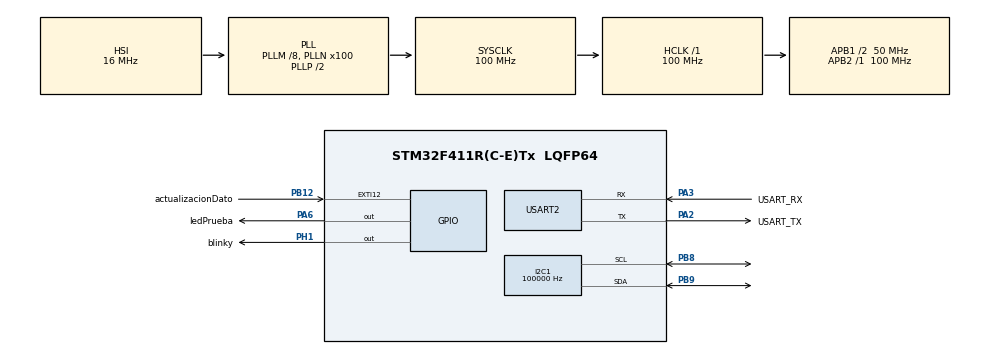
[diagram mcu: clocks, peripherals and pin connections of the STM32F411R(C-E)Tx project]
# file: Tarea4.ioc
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Dma.I2C1_RX.0.Direction=DMA_PERIPH_TO_MEMORY
Dma.I2C1_RX.0.FIFOMode=DMA_FIFOMODE_DISABLE
Dma.I2C1_RX.0.Instance=DMA1_Stream0
Dma.I2C1_RX.0.MemDataAlignment=DMA_MDATAALIGN_BYTE
Dma.I2C1_RX.0.MemInc=DMA_MINC_ENABLE
Dma.I2C1_RX.0.Mode=DMA_NORMAL
Dma.I2C1_RX.0.PeriphDataAlignment=DMA_PDATAALIGN_BYTE
Dma.I2C1_RX.0.PeriphInc=DMA_PINC_DISABLE
Dma.I2C1_RX.0.Priority=DMA_PRIORITY_LOW
Dma.I2C1_TX.1.Direction=DMA_MEMORY_TO_PERIPH
Dma.I2C1_TX.1.FIFOMode=DMA_FIFOMODE_DISABLE
Dma.I2C1_TX.1.Instance=DMA1_Stream1
Dma.I2C1_TX.1.MemDataAlignment=DMA_MDATAALIGN_BYTE
Dma.I2C1_TX.1.MemInc=DMA_MINC_ENABLE
Dma.I2C1_TX.1.Mode=DMA_NORMAL
Dma.I2C1_TX.1.PeriphDataAlignment=DMA_PDATAALIGN_BYTE
Dma.I2C1_TX.1.PeriphInc=DMA_PINC_DISABLE
Dma.I2C1_TX.1.Priority=DMA_PRIORITY_LOW
Dma.Request0=I2C1_RX
Dma.Request1=I2C1_TX
I2C1.ClockSpeed=100000
I2C1.I2C_Mode=I2C_Standard
Mcu.Family=STM32F4
Mcu.Name=STM32F411R(C-E)Tx
Mcu.Package=LQFP64
NVIC.DMA1_Stream0_IRQn=true\:0\:0\:false\:false\:true\:false\:true\:true
NVIC.DMA1_Stream1_IRQn=true\:0\:0\:false\:false\:true\:false\:true\:true
NVIC.EXTI15_10_IRQn=true\:0\:0\:false\:false\:true\:true\:true\:true
NVIC.PriorityGroup=NVIC_PRIORITYGROUP_0
NVIC.TIM2_IRQn=true\:0\:0\:false\:false\:true\:true\:true\:true
NVIC.USART2_IRQn=true\:0\:0\:false\:false\:true\:true\:true\:true
PA13.GPIO_Label=TMS
PA13.Mode=Serial_Wire
PA13.Signal=SYS_JTMS-SWDIO
PA14.GPIO_Label=TCK
PA14.Mode=Serial_Wire
PA14.Signal=SYS_JTCK-SWCLK
PA2.GPIO_Label=USART_TX
PA2.Mode=Asynchronous
PA2.Signal=USART2_TX
PA3.GPIO_Label=USART_RX
PA3.Mode=Asynchronous
PA3.Signal=USART2_RX
PA6.GPIO_Label=ledPrueba
PA6.Signal=GPIO_Output
PB12.GPIO_Label=actualizacionDato
PB12.Signal=GPXTI12
PB3.GPIO_Label=SWO
PB3.Signal=SYS_JTDO-SWO
PB8.Mode=I2C
PB8.Signal=I2C1_SCL
PB9.Mode=I2C
PB9.Signal=I2C1_SDA
PH1\ -\ OSC_OUT.GPIO_Label=blinky
PH1\ -\ OSC_OUT.Signal=GPIO_Output
ProjectManager.HeapSize=0x200
ProjectManager.StackSize=0x400
ProjectManager.TargetToolchain=STM32CubeIDE
RCC.48MHZClocksFreq_Value=50000000
RCC.AHBFreq_Value=100000000
RCC.APB1CLKDivider=RCC_HCLK_DIV2
RCC.APB1Freq_Value=50000000
RCC.APB1TimFreq_Value=100000000
RCC.APB2Freq_Value=100000000
RCC.APB2TimFreq_Value=100000000
RCC.CortexFreq_Value=100000000
RCC.FLatency-AdvancedSettings=FLASH_LATENCY_3
RCC.HCLKFreq_Value=100000000
RCC.HSE_VALUE=8000000
RCC.HSI_VALUE=16000000
RCC.LSE_VALUE=32768
RCC.PLLM=8
RCC.PLLN=100
RCC.SYSCLKFreq_VALUE=100000000
RCC.SYSCLKSource=RCC_SYSCLKSOURCE_PLLCLK
RCC.VCOOutputFreq_Value=200000000
TIM2.Period=100-1
TIM2.Prescaler=16000-1
USART2.VirtualMode=VM_ASYNC
VP_TIM2_VS_ClockSourceINT.Mode=Internal
board=NUCLEO-F411RE

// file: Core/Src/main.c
/* USER CODE BEGIN Header */
/**
  ******************************************************************************
  * @file           : main.c
  * @brief          : Main program body
  ******************************************************************************
  * @attention
  *
  * Copyright (c) 2025 STMicroelectronics.
  * All rights reserved.
  *
  * This software is licensed under terms that can be found in the LICENSE file
  * in the root directory of this software component.
  * If no LICENSE file comes with this software, it is provided AS-IS.
  *
  ******************************************************************************
  */
/* USER CODE END Header */
#include "main.h"

/* USER CODE BEGIN PTD */
// Dirección I2C con bit R/W en 0
#define MPU6050_ADDR (0x68 << 1)
// Primer registro de datos del acelerómetro
#define MPU6050_REG_ACCEL 0x3B
// Valor para suavizar el filtro de forma exponencial
#define ALPHA 0.1f
//Definimos el tamaño de la FFT
#define FFT_SIZE 256
 //Frecuencia de muestreo
#define SAMPLE_FREQ 1000.0f
/* USER CODE END PTD */

I2C_HandleTypeDef hi2c1;
DMA_HandleTypeDef hdma_i2c1_rx;
DMA_HandleTypeDef hdma_i2c1_tx;

TIM_HandleTypeDef htim2;

UART_HandleTypeDef huart2;

/* USER CODE BEGIN PV */
//Inicializamos la variable a la cual vamos a gurdarle el estado que
//tiene la maquina
estadoActual fsm ={0};

SD_MPU6050 mpu6050;
SD_MPU6050_Result result;
volatile bool newDataAvailable = false;

//Variables para las aceleraciones en cada eje
float aceleracionx =0;
float aceleraciony =0;
float aceleracionz =0;

//Variables para dar las aceleraciones filtradas
float accX_filt = 0;
float accY_filt = 0;
float accZ_filt = 0;

//Variables para expresar las aceleracion en terminos de
float g_x =0;
float g_y =0;
float g_z =0;

//Buffer para guardar en string los valores de las aceleraciones
char buffer[32];

char buf[32];
//Contador de lecturas para el acelerometro
static uint16_t contadorLecturas = 0;

//Variables para la fft
// Muestras en Z
float32_t accZ_buffer[FFT_SIZE];
uint16_t accZ_index = 0;
uint8_t bufferFull = 0;

float32_t fft_input[2 * FFT_SIZE];    // Interleaved real/imag para la FFT
float32_t fft_output[FFT_SIZE];       // Magnitudes
//Variable global para la frecuencia dominante
float freqDominante =0;

/* USER CODE END PV */

void SystemClock_Config(void);
static void MX_GPIO_Init(void);
static void MX_DMA_Init(void);
static void MX_USART2_UART_Init(void);
static void MX_TIM2_Init(void);
static void MX_I2C1_Init(void);
/* USER CODE BEGIN PFP */

//Función para asignar cada uno de los posibles estados de la maquina
void maquinaEstados (void);
//Funcion para calcular la frecuencia dominante
void calcularFrecuenciaDominante(void);
//Funcion para mostrar los cuadros principales
void cuadrosPrincipales (void);
/* USER CODE END PFP */

int main(void)
{

  /* MCU Configuration--------------------------------------------------------*/

  /* Reset of all peripherals, Initializes the Flash interface and the Systick. */
  HAL_Init();

  /* Configure the system clock */
  SystemClock_Config();

  /* Initialize all configured peripherals */
  MX_GPIO_Init();
  MX_DMA_Init();
  MX_USART2_UART_Init();
  MX_TIM2_Init();
  MX_I2C1_Init();
  /* USER CODE BEGIN 2 */
  //Inicializamos el timer 2 para el blinky
  HAL_TIM_Base_Start_IT(&htim2);
  result = SD_MPU6050_Init(&hi2c1, &mpu6050, SD_MPU6050_Device_0,
                           SD_MPU6050_Accelerometer_2G,
                           SD_MPU6050_Gyroscope_250s);

  if (result == SD_MPU6050_Result_Ok) {
      SD_MPU6050_EnableInterrupts(&hi2c1, &mpu6050);
  } else {
	  Error_Handler();
  }

  //Inicializamos la pantalla
  ssd1306_Init();
  //Probamos en la pantalla
  //ssd1306_TestAll();

  //Inicializamos las etiquetas de la pantalla
  cuadrosPrincipales();

  //Inicializamos el estado de la maquina de estados
  fsm.estado = guardarDato;

  /* USER CODE END 2 */

  /* Infinite loop */
  /* USER CODE BEGIN WHILE */
  while (1)
  {
	  maquinaEstados();
    /* USER CODE END WHILE */

  }
}

void SystemClock_Config(void)
{
  RCC_OscInitTypeDef RCC_OscInitStruct = {0};
  RCC_ClkInitTypeDef RCC_ClkInitStruct = {0};

  /** Configure the main internal regulator output voltage
  */
  __HAL_RCC_PWR_CLK_ENABLE();
  __HAL_PWR_VOLTAGESCALING_CONFIG(PWR_REGULATOR_VOLTAGE_SCALE1);

  /** Initializes the RCC Oscillators according to the specified parameters
  * in the RCC_OscInitTypeDef structure.
  */
  RCC_OscInitStruct.OscillatorType = RCC_OSCILLATORTYPE_HSI;
  RCC_OscInitStruct.HSIState = RCC_HSI_ON;
  RCC_OscInitStruct.HSICalibrationValue = RCC_HSICALIBRATION_DEFAULT;
  RCC_OscInitStruct.PLL.PLLState = RCC_PLL_ON;
  RCC_OscInitStruct.PLL.PLLSource = RCC_PLLSOURCE_HSI;
  RCC_OscInitStruct.PLL.PLLM = 8;
  RCC_OscInitStruct.PLL.PLLN = 100;
  RCC_OscInitStruct.PLL.PLLP = RCC_PLLP_DIV2;
  RCC_OscInitStruct.PLL.PLLQ = 4;
  if (HAL_RCC_OscConfig(&RCC_OscInitStruct) != HAL_OK)
  {
    Error_Handler();
  }

  /** Initializes the CPU, AHB and APB buses clocks
  */
  RCC_ClkInitStruct.ClockType = RCC_CLOCKTYPE_HCLK|RCC_CLOCKTYPE_SYSCLK
                              |RCC_CLOCKTYPE_PCLK1|RCC_CLOCKTYPE_PCLK2;
  RCC_ClkInitStruct.SYSCLKSource = RCC_SYSCLKSOURCE_PLLCLK;
  RCC_ClkInitStruct.AHBCLKDivider = RCC_SYSCLK_DIV1;
  RCC_ClkInitStruct.APB1CLKDivider = RCC_HCLK_DIV2;
  RCC_ClkInitStruct.APB2CLKDivider = RCC_HCLK_DIV1;

  if (HAL_RCC_ClockConfig(&RCC_ClkInitStruct, FLASH_LATENCY_3) != HAL_OK)
  {
    Error_Handler();
  }
}

static void MX_I2C1_Init(void)
{

  hi2c1.Instance = I2C1;
  hi2c1.Init.ClockSpeed = 100000;
  hi2c1.Init.DutyCycle = I2C_DUTYCYCLE_2;
  hi2c1.Init.OwnAddress1 = 0;
  hi2c1.Init.AddressingMode = I2C_ADDRESSINGMODE_7BIT;
  hi2c1.Init.DualAddressMode = I2C_DUALADDRESS_DISABLE;
  hi2c1.Init.OwnAddress2 = 0;
  hi2c1.Init.GeneralCallMode = I2C_GENERALCALL_DISABLE;
  hi2c1.Init.NoStretchMode = I2C_NOSTRETCH_DISABLE;
  if (HAL_I2C_Init(&hi2c1) != HAL_OK)
  {
    Error_Handler();
  }

}

static void MX_TIM2_Init(void)
{

  TIM_ClockConfigTypeDef sClockSourceConfig = {0};
  TIM_MasterConfigTypeDef sMasterConfig = {0};

  htim2.Instance = TIM2;
  htim2.Init.Prescaler = 16000-1;
  htim2.Init.CounterMode = TIM_COUNTERMODE_UP;
  htim2.Init.Period = 100-1;
  htim2.Init.ClockDivision = TIM_CLOCKDIVISION_DIV1;
  htim2.Init.AutoReloadPreload = TIM_AUTORELOAD_PRELOAD_DISABLE;
  if (HAL_TIM_Base_Init(&htim2) != HAL_OK)
  {
    Error_Handler();
  }
  sClockSourceConfig.ClockSource = TIM_CLOCKSOURCE_INTERNAL;
  if (HAL_TIM_ConfigClockSource(&htim2, &sClockSourceConfig) != HAL_OK)
  {
    Error_Handler();
  }
  sMasterConfig.MasterOutputTrigger = TIM_TRGO_RESET;
  sMasterConfig.MasterSlaveMode = TIM_MASTERSLAVEMODE_DISABLE;
  if (HAL_TIMEx_MasterConfigSynchronization(&htim2, &sMasterConfig) != HAL_OK)
  {
    Error_Handler();
  }

}

static void MX_USART2_UART_Init(void)
{

  huart2.Instance = USART2;
  huart2.Init.BaudRate = 115200;
  huart2.Init.WordLength = UART_WORDLENGTH_8B;
  huart2.Init.StopBits = UART_STOPBITS_1;
  huart2.Init.Parity = UART_PARITY_NONE;
  huart2.Init.Mode = UART_MODE_TX_RX;
  huart2.Init.HwFlowCtl = UART_HWCONTROL_NONE;
  huart2.Init.OverSampling = UART_OVERSAMPLING_16;
  if (HAL_UART_Init(&huart2) != HAL_OK)
  {
    Error_Handler();
  }

}

static void MX_DMA_Init(void)
{

  /* DMA controller clock enable */
  __HAL_RCC_DMA1_CLK_ENABLE();

  /* DMA interrupt init */
  /* DMA1_Stream0_IRQn interrupt configuration */
  HAL_NVIC_SetPriority(DMA1_Stream0_IRQn, 0, 0);
  HAL_NVIC_EnableIRQ(DMA1_Stream0_IRQn);
  /* DMA1_Stream1_IRQn interrupt configuration */
  HAL_NVIC_SetPriority(DMA1_Stream1_IRQn, 0, 0);
  HAL_NVIC_EnableIRQ(DMA1_Stream1_IRQn);

}

static void MX_GPIO_Init(void)
{
  GPIO_InitTypeDef GPIO_InitStruct = {0};

  /* GPIO Ports Clock Enable */
  __HAL_RCC_GPIOH_CLK_ENABLE();
  __HAL_RCC_GPIOA_CLK_ENABLE();
  __HAL_RCC_GPIOB_CLK_ENABLE();

  /*Configure GPIO pin Output Level */
  HAL_GPIO_WritePin(blinky_GPIO_Port, blinky_Pin, GPIO_PIN_RESET);

  /*Configure GPIO pin Output Level */
  HAL_GPIO_WritePin(ledPrueba_GPIO_Port, ledPrueba_Pin, GPIO_PIN_RESET);

  /*Configure GPIO pin : blinky_Pin */
  GPIO_InitStruct.Pin = blinky_Pin;
  GPIO_InitStruct.Mode = GPIO_MODE_OUTPUT_PP;
  GPIO_InitStruct.Pull = GPIO_NOPULL;
  GPIO_InitStruct.Speed = GPIO_SPEED_FREQ_LOW;
  HAL_GPIO_Init(blinky_GPIO_Port, &GPIO_InitStruct);

  /*Configure GPIO pin : ledPrueba_Pin */
  GPIO_InitStruct.Pin = ledPrueba_Pin;
  GPIO_InitStruct.Mode = GPIO_MODE_OUTPUT_PP;
  GPIO_InitStruct.Pull = GPIO_NOPULL;
  GPIO_InitStruct.Speed = GPIO_SPEED_FREQ_LOW;
  HAL_GPIO_Init(ledPrueba_GPIO_Port, &GPIO_InitStruct);

  /*Configure GPIO pin : actualizacionDato_Pin */
  GPIO_InitStruct.Pin = actualizacionDato_Pin;
  GPIO_InitStruct.Mode = GPIO_MODE_IT_RISING;
  GPIO_InitStruct.Pull = GPIO_NOPULL;
  HAL_GPIO_Init(actualizacionDato_GPIO_Port, &GPIO_InitStruct);

  /* EXTI interrupt init*/
  HAL_NVIC_SetPriority(EXTI15_10_IRQn, 0, 0);
  HAL_NVIC_EnableIRQ(EXTI15_10_IRQn);

}

/* USER CODE BEGIN 4 */
//Funcion de la maquina de estados
void maquinaEstados(void){
	switch (fsm.estado){
	case guardarDato:{
	    SD_MPU6050_ReadAccelerometer(&hi2c1,&mpu6050);
	    //Guardamos los datos en las variables de la aceleracion
	    aceleracionx = mpu6050.Accelerometer_X * mpu6050.Acce_Mult;
	    aceleraciony = mpu6050.Accelerometer_Y * mpu6050.Acce_Mult;
	    aceleracionz = mpu6050.Accelerometer_Z * mpu6050.Acce_Mult;

	    //Filtramos los valores
	    accX_filt = ALPHA * aceleracionx + (1.0f - ALPHA) * accX_filt;
	    accY_filt = ALPHA * aceleraciony + (1.0f - ALPHA) * accY_filt;
	    accZ_filt = ALPHA * aceleracionz + (1.0f - ALPHA) * accZ_filt;

	    //Transformamos los valores en términos de la gravedad g
		g_x = accX_filt * 9.65f;
		g_y = accY_filt * 9.65f;
		g_z = accZ_filt * 9.65f;

		//Guardamos los datos correspondientes a la aceleracion en z
		accZ_buffer[accZ_index++] = aceleracionz;
		//Nos aseguramos de que este arreglo no se vaya a desbordar
		if (accZ_index >= FFT_SIZE) {
		    accZ_index = 0;
		    bufferFull = 1;
		}

		contadorLecturas ++;
		if (contadorLecturas==200){
			contadorLecturas=0;
		}
		if (contadorLecturas==5){
			fsm.estado= mostrarPantalla;
		}
		else{
			fsm.estado =IDLE;
		}

    	break;
	}
	case mostrarPantalla:{
		calcularFrecuenciaDominante();
		ssd1306_FillRectangle(45, 0, 128, 10, Black);  // Borra anterior
		ssd1306_SetCursor(45, 0);
		snprintf(buf, sizeof(buf), "%.2f", g_x);
		ssd1306_WriteString(buf, Font_7x10, White);

	    ssd1306_FillRectangle(45, 16, 128, 26, Black);
		ssd1306_SetCursor(45, 16);
		snprintf(buf, sizeof(buf), "%.2f", g_y);
		ssd1306_WriteString(buf, Font_7x10, White);

		ssd1306_FillRectangle(45, 32, 128, 42, Black);
		ssd1306_SetCursor(45, 32);
		snprintf(buf, sizeof(buf), "%.2f", g_z);
		ssd1306_WriteString(buf, Font_7x10, White);
		ssd1306_UpdateRect(45, 0, 40, 10);
		ssd1306_UpdateRect(45, 16, 40, 10);
		ssd1306_UpdateRect(45, 32, 40, 10);

		bufferFull = 0;

		ssd1306_Fill(Black);
		ssd1306_SetCursor(45, 48);
		snprintf(buffer, sizeof(buffer), "%.1f", freqDominante);
		ssd1306_WriteString(buffer, Font_7x10, White);
		ssd1306_UpdateRect(45, 48, 40, 10);

		break;
	}
	case Blinky:{
		HAL_GPIO_TogglePin(blinky_GPIO_Port, blinky_Pin);
		fsm.estado = IDLE;
		break;
	}
	case IDLE:{
		break;
	}
	default:{
		__NOP();
		break;
	}
	}
}

//Funcion para mostrar los cuadros principales de la pantalla
void cuadrosPrincipales (void){
	  ssd1306_Fill(Black);
	  ssd1306_SetCursor(0, 0);
	  ssd1306_WriteString("acelX:", Font_7x10, White);
	  ssd1306_SetCursor(0, 16);
	  ssd1306_WriteString("acelY:", Font_7x10, White);
	  ssd1306_SetCursor(0, 32);
	  ssd1306_WriteString("acelZ:", Font_7x10, White);
	  ssd1306_SetCursor(0, 48);
	  ssd1306_WriteString("FrecZ:", Font_7x10, White);
	  ssd1306_SetCursor(90, 0);
	  ssd1306_WriteString("m/s2", Font_7x10, White);
	  ssd1306_SetCursor(90, 16);
	  ssd1306_WriteString("m/s2", Font_7x10, White);
	  ssd1306_SetCursor(90, 32);
	  ssd1306_WriteString("m/s2", Font_7x10, White);
	  ssd1306_SetCursor(90, 48);
	  ssd1306_WriteString("Hz", Font_7x10, White);
	  ssd1306_UpdateScreen();
}
//Funcion que calcula la FFT y frecuencia dominante
void calcularFrecuenciaDominante(void) {
	// 1. Quitar el offset (componente DC)
	float promedio = 0.0f;
	for (int i = 0; i < FFT_SIZE; i++) {
	    promedio += fft_input[i];
	}
	promedio /= FFT_SIZE;

	for (int i = 0; i < FFT_SIZE; i++) {
	    fft_input[i] -= promedio;
	}

    arm_rfft_fast_instance_f32 fft_instance;
    arm_rfft_fast_init_f32(&fft_instance, FFT_SIZE);

    // Copiamos el buffer
    memcpy(fft_input, accZ_buffer, sizeof(accZ_buffer));

    // Hacemos la FFT
    arm_rfft_fast_f32(&fft_instance, fft_input, fft_input, 0);

    // Calculamos el espectro (magnitud)
    for (int i = 0; i < FFT_SIZE / 2; i++) {
        float real = fft_input[2 * i];
        float imag = fft_input[2 * i + 1];
        fft_output[i] = sqrtf(real * real + imag * imag);
    }

    // Buscamos el índice de la magnitud máxima
    uint32_t indexMax = 0;
    float maxValue = 0;
	arm_max_f32(&fft_output[1], FFT_SIZE / 2 - 1, &maxValue, &indexMax);
	indexMax += 1;

    // Convertimos índice en frecuencia
    freqDominante = ((float)indexMax * SAMPLE_FREQ) / FFT_SIZE;
}

//Llamamos el callback para el blinky
void HAL_TIM_PeriodElapsedCallback(TIM_HandleTypeDef *htim){
	// Nos aseguramos de que sea el TIMER2 el que haga la interrupcion
    if (htim->Instance == TIM2){
    	//Cambiamos de estado a blinky
    	fsm.estado = Blinky;
    }
}

//Llamamos el callback del EXTI
void HAL_GPIO_EXTI_Callback(uint16_t GPIO_Pin) {
    if (GPIO_Pin == GPIO_PIN_12) { // PB2 conectado a INT2 del acelerometro
    	fsm.estado =guardarDato;
    }
}

/* USER CODE END 4 */

void Error_Handler(void)
{
  __disable_irq();
  while (1)
  {
  }
}
